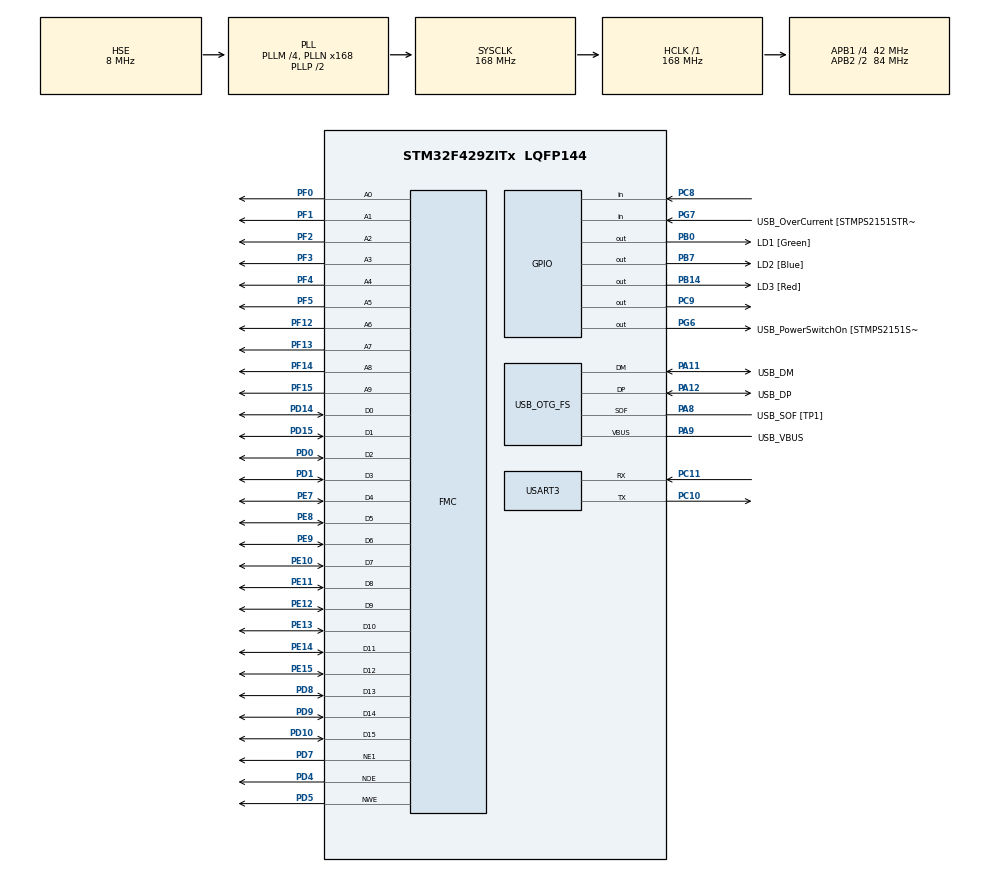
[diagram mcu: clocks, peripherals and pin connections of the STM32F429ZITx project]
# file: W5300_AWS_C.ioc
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FMC.AddressSetupTime1=3
FMC.BusTurnAroundDuration1=4
FMC.DataSetupTime1=3
FMC.WriteOperation1=FMC_WRITE_OPERATION_ENABLE
FREERTOS.Tasks01=defaultTask,24,128,StartDefaultTask,Default,NULL,Dynamic,NULL,NULL
FREERTOS.configUSE_NEWLIB_REENTRANT=1
Mcu.Family=STM32F4
Mcu.Name=STM32F429ZITx
Mcu.Package=LQFP144
NVIC.PriorityGroup=NVIC_PRIORITYGROUP_4
NVIC.TIM6_DAC_IRQn=true\:15\:0\:false\:false\:true\:false\:false\:true\:true
NVIC.TIM7_IRQn=true\:5\:0\:false\:false\:true\:true\:true\:true\:true
NVIC.TimeBase=TIM6_DAC_IRQn
NVIC.TimeBaseIP=TIM6
PA1.GPIO_Label=RMII_REF_CLK [LAN8742A-CZ-TR_REFCLK0]
PA1.Signal=ETH_REF_CLK
PA10.GPIO_Label=USB_ID
PA10.Signal=USB_OTG_FS_ID
PA11.GPIO_Label=USB_DM
PA11.Mode=Device_Only
PA11.Signal=USB_OTG_FS_DM
PA12.GPIO_Label=USB_DP
PA12.Mode=Device_Only
PA12.Signal=USB_OTG_FS_DP
PA13.GPIO_Label=TMS
PA13.Mode=Serial_Wire
PA13.Signal=SYS_JTMS-SWDIO
PA14.GPIO_Label=TCK
PA14.Mode=Serial_Wire
PA14.Signal=SYS_JTCK-SWCLK
PA2.GPIO_Label=RMII_MDIO [LAN8742A-CZ-TR_MDIO]
PA2.Signal=ETH_MDIO
PA7.GPIO_Label=RMII_CRS_DV [LAN8742A-CZ-TR_CRS_DV]
PA7.Signal=ETH_CRS_DV
PA8.GPIO_Label=USB_SOF [TP1]
PA8.Mode=Activate_SOF_FS
PA8.Signal=USB_OTG_FS_SOF
PA9.GPIO_Label=USB_VBUS
PA9.Mode=Activate_VBUS
PA9.Signal=USB_OTG_FS_VBUS
PB0.GPIO_Label=LD1 [Green]
PB0.Signal=GPIO_Output
PB13.GPIO_Label=RMII_TXD1 [LAN8742A-CZ-TR_TXD1]
PB13.Signal=ETH_TXD1
PB14.GPIO_Label=LD3 [Red]
PB14.Signal=GPIO_Output
PB7.GPIO_Label=LD2 [Blue]
PB7.Signal=GPIO_Output
PC1.GPIO_Label=RMII_MDC [LAN8742A-CZ-TR_MDC]
PC1.Signal=ETH_MDC
PC10.Mode=Asynchronous
PC10.Signal=USART3_TX
PC11.Mode=Asynchronous
PC11.Signal=USART3_RX
PC14/OSC32_IN.Mode=LSE-External-Oscillator
PC14/OSC32_IN.Signal=RCC_OSC32_IN
PC15/OSC32_OUT.Mode=LSE-External-Oscillator
PC15/OSC32_OUT.Signal=RCC_OSC32_OUT
PC4.GPIO_Label=RMII_RXD0 [LAN8742A-CZ-TR_RXD0]
PC4.Signal=ETH_RXD0
PC5.GPIO_Label=RMII_RXD1 [LAN8742A-CZ-TR_RXD1]
PC5.Signal=ETH_RXD1
PC8.Signal=GPIO_Input
PC9.Signal=GPIO_Output
PD0.Signal=FMC_D2_DA2
PD1.Signal=FMC_D3_DA3
PD10.Signal=FMC_D15_DA15
PD14.Signal=FMC_D0_DA0
PD15.Signal=FMC_D1_DA1
PD4.Signal=FMC_NOE
PD5.Signal=FMC_NWE
PD7.Mode=NorPsramChipSelect1_1
PD7.Signal=FMC_NE1
PD8.Signal=FMC_D13_DA13
PD9.Signal=FMC_D14_DA14
PE10.Signal=FMC_D7_DA7
PE11.Signal=FMC_D8_DA8
PE12.Signal=FMC_D9_DA9
PE13.Signal=FMC_D10_DA10
PE14.Signal=FMC_D11_DA11
PE15.Signal=FMC_D12_DA12
PE7.Signal=FMC_D4_DA4
PE8.Signal=FMC_D5_DA5
PE9.Signal=FMC_D6_DA6
PF0.Signal=FMC_A0
PF1.Signal=FMC_A1
PF12.Signal=FMC_A6
PF13.Signal=FMC_A7
PF14.Signal=FMC_A8
PF15.Signal=FMC_A9
PF2.Signal=FMC_A2
PF3.Signal=FMC_A3
PF4.Signal=FMC_A4
PF5.Signal=FMC_A5
PG11.GPIO_Label=RMII_TX_EN [LAN8742A-CZ-TR_TXEN]
PG11.Signal=ETH_TX_EN
PG13.GPIO_Label=RMII_TXD0 [LAN8742A-CZ-TR_TXD0]
PG13.Signal=ETH_TXD0
PG6.GPIO_Label=USB_PowerSwitchOn [STMPS2151STR_EN]
PG6.Signal=GPIO_Output
PG7.GPIO_Label=USB_OverCurrent [STMPS2151STR_FAULT]
PG7.Signal=GPIO_Input
PH0/OSC_IN.GPIO_Label=MCO [STM32F103CBT6_PA8]
PH0/OSC_IN.Mode=HSE-External-Clock-Source
PH0/OSC_IN.Signal=RCC_OSC_IN
PH1/OSC_OUT.Mode=HSE-External-Clock-Source
PH1/OSC_OUT.Signal=RCC_OSC_OUT
ProjectManager.HeapSize=0x200
ProjectManager.StackSize=0x400
ProjectManager.TargetToolchain=STM32CubeIDE
RCC.48MHZClocksFreq_Value=48000000
RCC.AHBFreq_Value=168000000
RCC.APB1CLKDivider=RCC_HCLK_DIV4
RCC.APB1Freq_Value=42000000
RCC.APB1TimFreq_Value=84000000
RCC.APB2CLKDivider=RCC_HCLK_DIV2
RCC.APB2Freq_Value=84000000
RCC.APB2TimFreq_Value=168000000
RCC.CortexFreq_Value=168000000
RCC.HCLKFreq_Value=168000000
RCC.HSE_VALUE=8000000
RCC.HSI_VALUE=16000000
RCC.PLLM=4
RCC.PLLMUL=RCC_PLL_MUL9
RCC.PLLN=168
RCC.PLLQ=7
RCC.PRESCALERUSB=RCC_USBCLKSOURCE_PLL_DIV1_5
RCC.SYSCLKFreq_VALUE=168000000
RCC.SYSCLKSource=RCC_SYSCLKSOURCE_PLLCLK
RCC.SYSCLKSourceVirtual=RCC_SYSCLKSOURCE_PLLCLK
RCC.USBFreq_Value=48000000
RCC.VCOOutputFreq_Value=336000000
SH.FMC_A0.0=FMC_A0,10b-a1
SH.FMC_A1.0=FMC_A1,10b-a1
SH.FMC_A2.0=FMC_A2,10b-a1
SH.FMC_A3.0=FMC_A3,10b-a1
SH.FMC_A4.0=FMC_A4,10b-a1
SH.FMC_A5.0=FMC_A5,10b-a1
SH.FMC_A6.0=FMC_A6,10b-a1
SH.FMC_A7.0=FMC_A7,10b-a1
SH.FMC_A8.0=FMC_A8,10b-a1
SH.FMC_A9.0=FMC_A9,10b-a1
SH.FMC_D0_DA0.0=FMC_D0,16b-d1
SH.FMC_D10_DA10.0=FMC_D10,16b-d1
SH.FMC_D11_DA11.0=FMC_D11,16b-d1
SH.FMC_D12_DA12.0=FMC_D12,16b-d1
SH.FMC_D13_DA13.0=FMC_D13,16b-d1
SH.FMC_D14_DA14.0=FMC_D14,16b-d1
SH.FMC_D15_DA15.0=FMC_D15,16b-d1
SH.FMC_D1_DA1.0=FMC_D1,16b-d1
SH.FMC_D2_DA2.0=FMC_D2,16b-d1
SH.FMC_D3_DA3.0=FMC_D3,16b-d1
SH.FMC_D4_DA4.0=FMC_D4,16b-d1
SH.FMC_D5_DA5.0=FMC_D5,16b-d1
SH.FMC_D6_DA6.0=FMC_D6,16b-d1
SH.FMC_D7_DA7.0=FMC_D7,16b-d1
SH.FMC_D8_DA8.0=FMC_D8,16b-d1
SH.FMC_D9_DA9.0=FMC_D9,16b-d1
SH.FMC_NOE.0=FMC_NOE,Sram1
SH.FMC_NWE.0=FMC_NWE,Sram1
TIM7.AutoReloadPreload=TIM_AUTORELOAD_PRELOAD_DISABLE
TIM7.Period=1000-1
TIM7.Prescaler=840-1
USART3.VirtualMode=VM_ASYNC
USB_OTG_FS.VirtualMode=Device_Only
VP_FREERTOS_VS_CMSIS_V2.Mode=CMSIS_V2
VP_SYS_VS_tim6.Mode=TIM6
VP_TIM7_VS_ClockSourceINT.Mode=Enable_Timer
board=NUCLEO-F429ZI

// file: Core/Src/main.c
/* USER CODE BEGIN Header */
/**
  ******************************************************************************
  * @file           : main.c
  * @brief          : Main program body
  ******************************************************************************
  * @attention
  *
  * Copyright (c) 2023 STMicroelectronics.
  * All rights reserved.
  *
  * This software is licensed under terms that can be found in the LICENSE file
  * in the root directory of this software component.
  * If no LICENSE file comes with this software, it is provided AS-IS.
  *
  ******************************************************************************
  */
/* USER CODE END Header */

#include "main.h"
#include "cmsis_os.h"
#include "tim.h"
#include "usart.h"
#include "usb_otg.h"
#include "gpio.h"
#include "fmc.h"

#include "stm32f4xx_hal.h"
#include <stdio.h>
#include <time.h>
#include "dhcp.h"
#include "mqtt_transport_interface.h"
#include "ssl_transport_interface.h"
#include "timer_interface.h"
#include "mqtt_certificate.h"

/* Socket */
#define SOCKET_MQTT 0
#define SOCKET_DHCP 1
#define DHCP_RETRY_COUNT 5
/* USER CODE END PM */

/* USER CODE BEGIN PV */

wiz_NetInfo net_info = {
        .mac = {0x00, 0x08, 0xDC, 0x12, 0x34, 0x56}, // MAC address
        .ip = {192, 168, 11, 104},                     // IP address
        .sn = {255, 255, 255, 0},                    // Subnet Mask
        .gw = {192, 168, 11, 1},                     // Gateway
        .dns = {8, 8, 8, 8},                         // DNS server
        .dhcp = NETINFO_STATIC                    // NETINFO_STATIC
};

  tlsContext_t g_mqtt_tls_context;

  static uint8_t g_mqtt_buf[MQTT_BUF_MAX_SIZE] = {
      0,
  };

  static uint8_t g_dhcp_buf[ETHERNET_BUF_MAX_SIZE] = {
      0,
  };

  wiz_NetInfo* g_net_info;
/* USER CODE END PV */

void SystemClock_Config(void);
void MX_FREERTOS_Init(void);

/* USER CODE BEGIN 0 */
static void wizchip_dhcp_assign(void)
{
  getIPfromDHCP(net_info.ip);
  getGWfromDHCP(net_info.gw);
  getSNfromDHCP(net_info.sn);
  getDNSfromDHCP(net_info.dns);

  ctlnetwork(CN_SET_NETINFO, &net_info);

  wizchip_network_information(&net_info);
  printf(" DHCP leased time : %ld seconds\n", getDHCPLeasetime());
}

static void wizchip_dhcp_conflict(void)
{
  printf(" Conflict IP from DHCP\n");

  // halt or reset or any...
  while (1)
    ; // this example is halt.
}

static void wizchip_dhcp_init()
{

  printf(" DHCP client running\n");

  DHCP_init(SOCKET_DHCP, g_dhcp_buf);

  reg_dhcp_cbfunc(wizchip_dhcp_assign, wizchip_dhcp_assign, wizchip_dhcp_conflict);

}

void dhcp_loop(void)
{
  int retval = 0;
  uint8_t dhcp_retry = 0;

  /* Infinite loop */
  while (1)
  {
    /* Assigned IP through DHCP */
    if (net_info.dhcp == NETINFO_DHCP)
    {
      retval = DHCP_run();

      if (retval == DHCP_IP_LEASED)
      {
        printf(" DHCP success\n");

        break;
      }
      else if (retval == DHCP_FAILED)
      {
        dhcp_retry++;

        if (dhcp_retry <= DHCP_RETRY_COUNT)
        {
          printf(" DHCP timeout occurred and retry %d\n", dhcp_retry);
        }
      }

      if (dhcp_retry > DHCP_RETRY_COUNT)
      {
        printf(" DHCP failed\n");

        DHCP_stop();

        while (1)
          ;
      }

      HAL_Delay(1000);
    }
  }
}

int main(void)
{

  /* MCU Configuration--------------------------------------------------------*/

  /* Reset of all peripherals, Initializes the Flash interface and the Systick. */
  HAL_Init();

  /* Configure the system clock */
  SystemClock_Config();

    /* Initialize all configured peripherals */
    MX_GPIO_Init();
    MX_USB_OTG_FS_PCD_Init();
    MX_FMC_Init();
    MX_USART3_UART_Init();
    MX_TIM7_Init();

    HAL_TIM_Base_Start_IT(&htim7);
    if (net_info.dhcp==NETINFO_DHCP)
    {
    	wizchip_dhcp_init();
    }
    wizchip_network_initialize(&net_info);
    wizchip_network_information(&net_info);

    g_mqtt_tls_context.rootca_option = MBEDTLS_SSL_VERIFY_REQUIRED; // use Root CA verify
    g_mqtt_tls_context.clica_option = 1;                            // use client certificate
    g_mqtt_tls_context.root_ca = mqtt_root_ca;
    g_mqtt_tls_context.client_cert = mqtt_client_cert;
    g_mqtt_tls_context.private_key = mqtt_private_key;

    int retval=0;

    retval = mqtt_transport_init(true, (uint8_t *)MQTT_CLIENT_ID, NULL, NULL, MQTT_KEEP_ALIVE);

    if (retval != 0)
    {
       printf(" Failed, mqtt_transport_init returned %d\n", retval);
       while (1);
    }

    retval = mqtt_transport_connect(SOCKET_MQTT, 1, g_mqtt_buf, MQTT_BUF_MAX_SIZE,(uint8_t *) MQTT_DOMAIN, 8883, &g_mqtt_tls_context);

    if (retval != 0)
    {
        printf(" Failed, mqtt_transport_connect returned %d\n", retval);
        while (1);
    }

    retval = mqtt_transport_subscribe(0, MQTT_SUB_TOPIC);

    if (retval != 0)
    {
        printf(" Failed, mqtt_transport_subscribe returned %d\n", retval);
        while (1);
    }

    /* Init scheduler */
    osKernelInitialize();
    MX_FREERTOS_Init();

  /* Start scheduler */
  osKernelStart();

  /* We should never get here as control is now taken by the scheduler */
  /* Infinite loop */
  while (1)
  {

  }

}
void SystemClock_Config(void)
{
  RCC_OscInitTypeDef RCC_OscInitStruct = {0};
  RCC_ClkInitTypeDef RCC_ClkInitStruct = {0};

  /** Configure the main internal regulator output voltage
  */
  __HAL_RCC_PWR_CLK_ENABLE();
  __HAL_PWR_VOLTAGESCALING_CONFIG(PWR_REGULATOR_VOLTAGE_SCALE1);

  /** Initializes the RCC Oscillators according to the specified parameters
  * in the RCC_OscInitTypeDef structure.
  */
  RCC_OscInitStruct.OscillatorType = RCC_OSCILLATORTYPE_HSE;
  RCC_OscInitStruct.HSEState = RCC_HSE_BYPASS;
  RCC_OscInitStruct.PLL.PLLState = RCC_PLL_ON;
  RCC_OscInitStruct.PLL.PLLSource = RCC_PLLSOURCE_HSE;
  RCC_OscInitStruct.PLL.PLLM = 4;
  RCC_OscInitStruct.PLL.PLLN = 168;
  RCC_OscInitStruct.PLL.PLLP = RCC_PLLP_DIV2;
  RCC_OscInitStruct.PLL.PLLQ = 7;
  if (HAL_RCC_OscConfig(&RCC_OscInitStruct) != HAL_OK)
  {
    Error_Handler();
  }

  /** Initializes the CPU, AHB and APB buses clocks
  */
  RCC_ClkInitStruct.ClockType = RCC_CLOCKTYPE_HCLK|RCC_CLOCKTYPE_SYSCLK
                              |RCC_CLOCKTYPE_PCLK1|RCC_CLOCKTYPE_PCLK2;
  RCC_ClkInitStruct.SYSCLKSource = RCC_SYSCLKSOURCE_PLLCLK;
  RCC_ClkInitStruct.AHBCLKDivider = RCC_SYSCLK_DIV1;
  RCC_ClkInitStruct.APB1CLKDivider = RCC_HCLK_DIV4;
  RCC_ClkInitStruct.APB2CLKDivider = RCC_HCLK_DIV2;

  if (HAL_RCC_ClockConfig(&RCC_ClkInitStruct, FLASH_LATENCY_5) != HAL_OK)
  {
    Error_Handler();
  }
}

void HAL_TIM_PeriodElapsedCallback(TIM_HandleTypeDef *htim)
{
  if (htim->Instance == TIM6) {
    HAL_IncTick();
  }
  /* USER CODE BEGIN Callback 1 */

	if(htim->Instance == TIM7)
	{
	  repeating_timer_callback();
	  HAL_IncTick();
	}
  /* USER CODE END Callback 1 */
}

void Error_Handler(void)
{
  __disable_irq();
  while (1)
  {
  }
}

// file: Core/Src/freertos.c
/* USER CODE BEGIN Header */
/**
  ******************************************************************************
  * File Name          : freertos.c
  * Description        : Code for freertos applications
  ******************************************************************************
  * @attention
  *
  * Copyright (c) 2023 STMicroelectronics.
  * All rights reserved.
  *
  * This software is licensed under terms that can be found in the LICENSE file
  * in the root directory of this software component.
  * If no LICENSE file comes with this software, it is provided AS-IS.
  *
  ******************************************************************************
  */
/* USER CODE END Header */

#include "FreeRTOS.h"
#include "task.h"
#include "main.h"
#include "cmsis_os.h"

/* USER CODE BEGIN Includes */
#include <stdio.h>
#include <string.h>
#include "timer_interface.h"
#include "mqtt_transport_interface.h"
/* USER CODE END Includes */

/* USER CODE BEGIN PD */
/* Timeout */
#define MQTT_PUB_PERIOD (1000 * 10) // 10 seconds
/* USER CODE END PD */

/* USER CODE BEGIN PM */
static uint8_t g_mqtt_pub_msg_buf[MQTT_BUF_MAX_SIZE] = {
    0,
};
/* USER CODE END PM */

osThreadId_t dhcpTaskHandle;
const osThreadAttr_t dhcp_attributes = {
  .name = "dhcpTask",
  .stack_size = 128 * 4,
  .priority = (osPriority_t) osPriorityNormal,
};

osThreadId_t awsPublishTaskHandle;
const osThreadAttr_t awsPublish_attributes = {
  .name = "awsPublishTask",
  .stack_size = 1204*2, //128 * 4,
  .priority = (osPriority_t) osPriorityNormal,
};

osThreadId_t defaultTaskHandle;
const osThreadAttr_t defaultTask_attributes = {
  .name = "defaultTask",
  .stack_size = 128 * 4,
  .priority = (osPriority_t) osPriorityNormal,
};

void aws_mqtt_publish_task(void *argument);
void dhcp_task(void *argument);
void StartDefaultTask(void *argument);

void MX_FREERTOS_Init(void);

void MX_FREERTOS_Init(void) {

  /* Create the thread(s) */
  /* creation of defaultTask */
  defaultTaskHandle = osThreadNew(StartDefaultTask, NULL, &defaultTask_attributes);
  awsPublishTaskHandle = osThreadNew(aws_mqtt_publish_task, NULL, &awsPublish_attributes);
  //dhcpTaskHandle = osThreadNew(dhcp_task, NULL, &dhcp_attributes);

}

/* USER CODE BEGIN Header_StartDefaultTask */

void dhcp_task(void *argument){
	dhcp_loop();
}

void aws_mqtt_publish_task(void *argument){
  int retval = 0;
  uint32_t tick_start = 0;
  uint32_t tick_end = 0;
  uint8_t pub_cnt=0;

  tick_start = millis();
  while(1)
  {
    retval = mqtt_transport_yield(MQTT_YIELD_TIMEOUT);

    if (retval != 0)
    {
      printf(" Failed, mqtt_transport_yield returned %d\n", retval);
      while (1);
    }

    tick_end = millis();
    if (tick_end > tick_start + MQTT_PUB_PERIOD)
    {
      tick_start = millis();

      sprintf(g_mqtt_pub_msg_buf, "{\"message\":\"Hello, World!\", \"publish count\":\"%d\"}\n", pub_cnt++);
      mqtt_transport_publish(MQTT_PUB_TOPIC, g_mqtt_pub_msg_buf, strlen(g_mqtt_pub_msg_buf), 0);
    }
  }
}
/**
  * @brief  Function implementing the defaultTask thread.
  * @param  argument: Not used
  * @retval None
  */
/* USER CODE END Header_StartDefaultTask */
void StartDefaultTask(void *argument)
{
  for(;;)
  {
    osDelay(1);
  }
}
